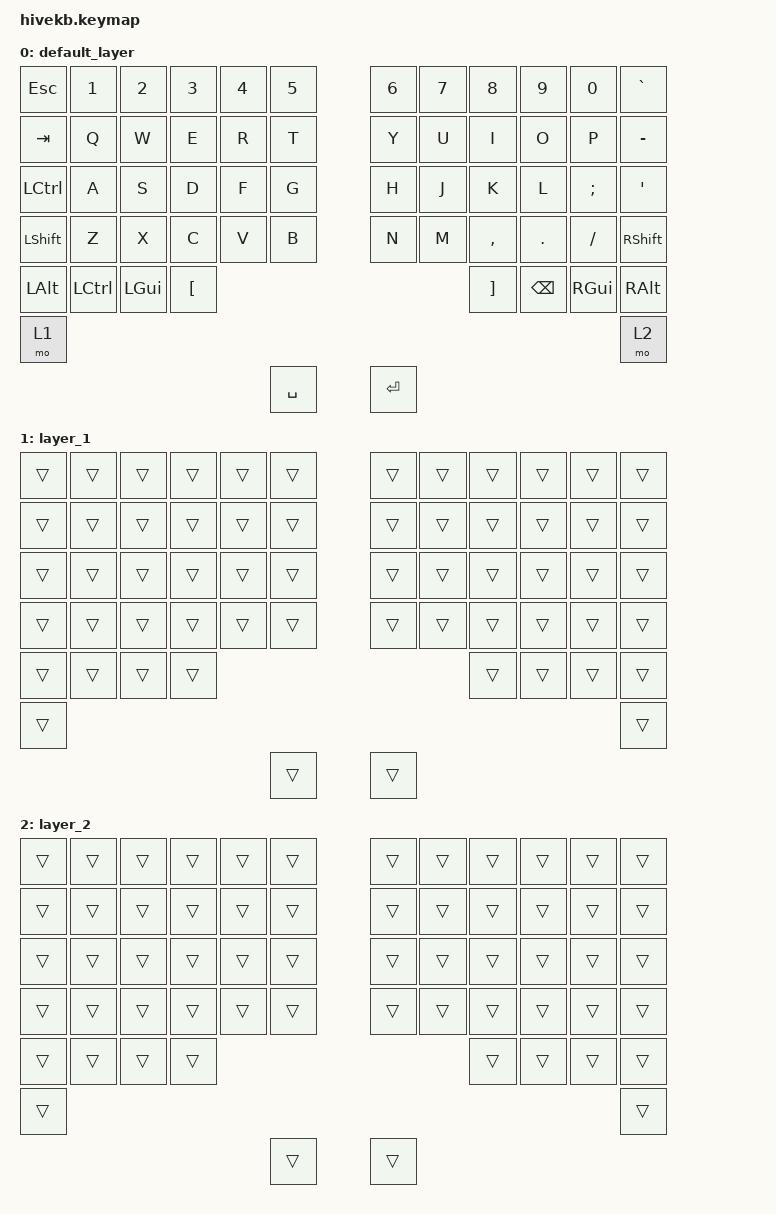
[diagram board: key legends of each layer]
#include <behaviors.dtsi>
#include <dt-bindings/zmk/keys.h>

/ {
    keymap {
        compatible = "zmk,keymap";

        default_layer {
            // ------------------------------------------------------------------------------------------------------------
            // |  ESC  |  1  |  2  |  3   |  4   |  5   |                   |  6   |  7    |  8    |  9   |   0   |   `   |
            // |  TAB  |  Q  |  W  |  E   |  R   |  T   |                   |  Y   |  U    |  I    |  O   |   P   |   -   |
            // |  CTRL |  A  |  S  |  D   |  F   |  G   |                   |  H   |  J    |  K    |  L   |   ;   |   '   |
            // | SHIFT |  Z  |  X  |  C   |  V   |  B   |                   |  N   |  M    |  ,    |  .   |   /   | SHIFT |
            // |  ALT  |CTRL | GUI |  "[" | LOWER| SPACE|                   | ENTER | RAISE|  "]"  | BSPC  | GUI  | RALT  |

            bindings = <
&kp ESC               &kp N1         &kp N2           &kp N3            &kp N4           &kp N5                            &kp N6            &kp N7               &kp N8             &kp N9              &kp N0               &kp GRAVE
           &kp TAB            &kp Q            &kp W             &kp E            &kp R                    &kp T    &kp Y             &kp U            &kp I                &kp O              &kp P               &kp MINUS
&kp LCTRL             &kp A          &kp S            &kp D             &kp F            &kp G                             &kp H             &kp J                &kp K              &kp L               &kp SEMI             &kp SQT
           &kp LSHFT          &kp Z            &kp X             &kp C            &kp V                    &kp B    &kp N             &kp M            &kp COMMA            &kp DOT            &kp FSLH            &kp RSHFT
                                     &kp LALT         &kp LCTRL         &kp LGUI         &kp LEFT_BRACKET                  &kp RBKT          &kp BSPC             &kp RGUI           &kp RALT
                                                                                                           &mo 1    &mo 2
                                                                                         &kp SPACE                         &kp ENTER
            >;
        };

        layer_1 {
            bindings = <
&trans          &trans          &trans          &trans          &trans          &trans                    &trans          &trans          &trans          &trans          &trans          &trans
        &trans          &trans          &trans          &trans          &trans          &trans    &trans          &trans          &trans          &trans          &trans          &trans
&trans          &trans          &trans          &trans          &trans          &trans                    &trans          &trans          &trans          &trans          &trans          &trans
        &trans          &trans          &trans          &trans          &trans          &trans    &trans          &trans          &trans          &trans          &trans          &trans
                                &trans          &trans          &trans          &trans                    &trans          &trans          &trans          &trans
                                                                                        &trans    &trans
                                                                                &trans                    &trans
            >;
        };

        layer_2 {
            bindings = <
&trans          &trans          &trans          &trans          &trans          &trans                    &trans          &trans          &trans          &trans          &trans          &trans
        &trans          &trans          &trans          &trans          &trans          &trans    &trans          &trans          &trans          &trans          &trans          &trans
&trans          &trans          &trans          &trans          &trans          &trans                    &trans          &trans          &trans          &trans          &trans          &trans
        &trans          &trans          &trans          &trans          &trans          &trans    &trans          &trans          &trans          &trans          &trans          &trans
                                &trans          &trans          &trans          &trans                    &trans          &trans          &trans          &trans
                                                                                        &trans    &trans
                                                                                &trans                    &trans
            >;
        };
    };
};
